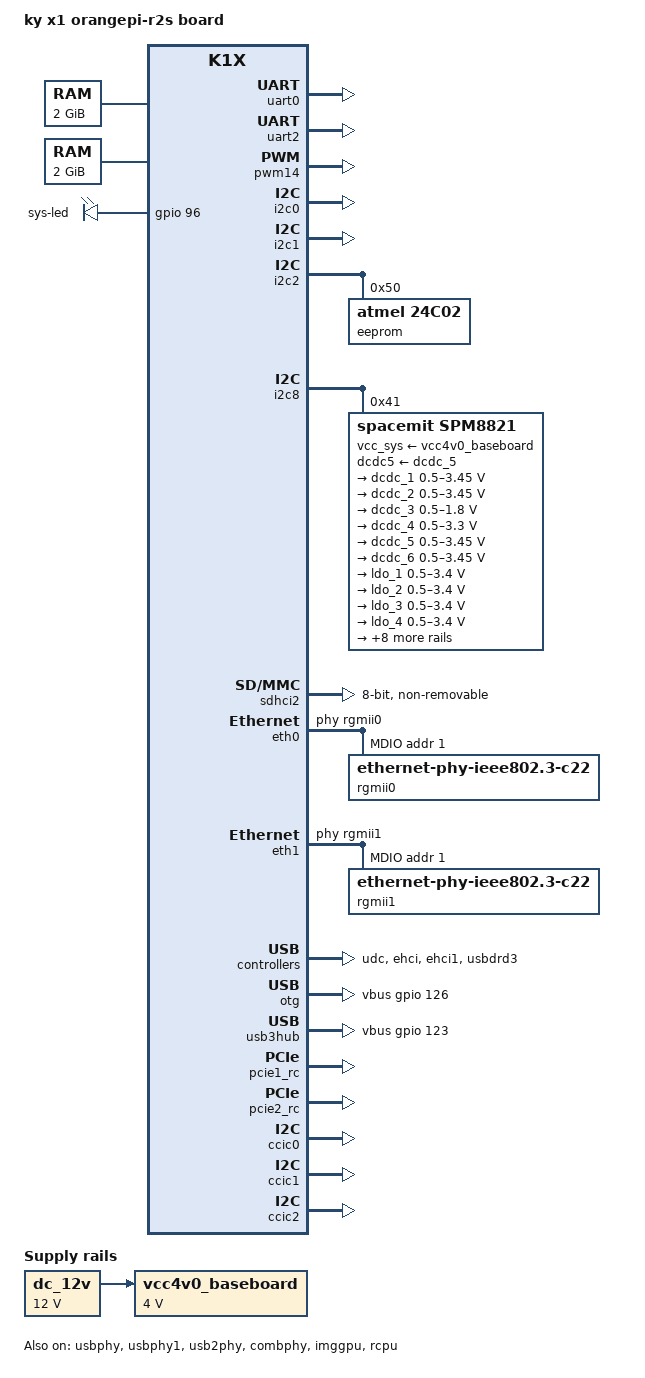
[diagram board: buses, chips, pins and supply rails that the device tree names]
// SPDX-License-Identifier: (GPL-2.0 OR MIT)
/* Copyright (c) 2023 Ky, Inc */

/dts-v1/;

#include "k1-x.dtsi"
#include "k1-x-efuse.dtsi"
#include "k1-x_pinctrl.dtsi"
#include "lcd/lcd_ili9881c_mipi.dtsi"
#include "k1-x-hdmi.dtsi"
#include "k1-x-lcd.dtsi"
#include "k1-x-camera-sdk.dtsi"
#include "k1-x_opp_table.dtsi"
#include "k1-x_thermal_cooling.dtsi"

/ {
	model = "ky x1 orangepi-r2s board";
	compatible = "spacemit,orangepi-r2s", "spacemit,k1x";

	cpus: cpus {
		#address-cells = <1>;
		#size-cells = <0>;
		timebase-frequency = <24000000>;

		cpu_0: cpu@0 {
			cpu-ai = "true";
		};

		cpu_1: cpu@1 {
			cpu-ai = "true";
		};

		cpu_2: cpu@2 {
			reg = <2>;
			cpu-ai = "true";
		};

		cpu_3: cpu@3 {
			reg = <3>;
			cpu-ai = "true";
		};

		cpu-map {
			cluster0 {
				core0 {
					cpu = <&cpu_0>;
				};

				core1 {
					cpu = <&cpu_1>;
				};

				core2 {
					cpu = <&cpu_2>;
				};

				core3 {
					cpu = <&cpu_3>;
				};
			};

			cluster1 {
				core0 {
					cpu = <&cpu_4>;
				};

				core1 {
					cpu = <&cpu_5>;
				};

				core2 {
					cpu = <&cpu_6>;
				};

				core3 {
					cpu = <&cpu_7>;
				};
			};
		};
	};

	memory@0 {
		device_type = "memory";
		reg = <0x0 0x00000000 0x0 0x80000000>;
	};

	memory@100000000 {
		device_type = "memory";
		reg = <0x1 0x00000000 0x0 0x80000000>;
	};

	reserved-memory {
		#address-cells = <2>;
		#size-cells = <2>;
		ranges;

		linux,cma {
			compatible = "shared-dma-pool";
			/* alloc memory from 0x40000000~0x80000000 */
			alloc-ranges = <0 0x40000000 0 0x30000000>;
			/* size of cma buffer is 384MByte */
			size = <0 0x18000000>;
			/* start address is 1Mbyte aligned */
			alignment = <0x0 0x100000>;
			linux,cma-default;
			/* besides hardware, dma for ex. buffer can be used by memory management */
			reusable;
		};

		/* reserved 384K for dpu, including mmu table(256K) and cmdlist(128K) */
		dpu_resv: dpu_reserved@2ff40000 {
			compatible = "shared-dma-pool";
			reg = <0x0 0x2ff40000 0x0 0x000C0000>;
			no-map;
		};
	};

	chosen {
		bootargs = "earlycon=sbi console=ttyS0,115200n8 loglevel=8 swiotlb=65536 rdinit=/init";
		stdout-path = "serial0:115200n8";
	};

	dc_12v: dc-12v {
		compatible = "regulator-fixed";
		regulator-name = "dc_12v";
		regulator-always-on;
		regulator-boot-on;
		regulator-min-microvolt = <12000000>;
		regulator-max-microvolt = <12000000>;
	};

	vcc4v0_baseboard: vcc4v0-baseboard {
		compatible = "regulator-fixed";
		regulator-name = "vcc4v0_baseboard";
		regulator-always-on;
		regulator-boot-on;
		regulator-min-microvolt = <4000000>;
		regulator-max-microvolt = <4000000>;
		vin-supply = <&dc_12v>;
	};

	leds {
		compatible = "gpio-leds";

		led1 {
			label = "sys-led";
			gpios = <&gpio 96 0>;
			linux,default-trigger = "heartbeat";
			default-state = "on";
			status = "okay";
		};
	};
};

&uart0 {
	pinctrl-names = "default";
	pinctrl-0 = <&pinctrl_uart0_2>;
	status = "okay";
};

&uart2 {
	pinctrl-names = "default";
	pinctrl-0 = <&pinctrl_uart2>;
	status = "okay";
};

&pwm14 {
	pinctrl-names = "default";
	pinctrl-0 = <&pinctrl_pwm14_1>;
	status = "okay";
};

&i2c0 {
	pinctrl-names = "default";
	pinctrl-0 = <&pinctrl_i2c0>;
	spacemit,i2c-fast-mode;
	status = "okay";
};

&i2c1 {
	pinctrl-names = "default";
	pinctrl-0 = <&pinctrl_i2c1>;
	spacemit,i2c-fast-mode;
	status = "okay";
};

&i2c2 {
	pinctrl-names = "default";
	pinctrl-0 = <&pinctrl_i2c2_0>;
	spacemit,i2c-fast-mode;
	status = "okay";

	eeprom@50{
		compatible = "atmel,24c02";
		reg = <0x50>;
		#address-cells = <1>;
		#size-cells = <1>;

		power-domains = <&power K1X_PMU_DUMMY_PWR_DOMAIN>;
		status = "okay";

		mac_address0: mac_address0@0 {
			reg = <0x0 6>;
		};

		mac_address1: mac_address1@6 {
			reg = <0x6 6>;
		};
	};
};

&i2c8 {
	pinctrl-names = "default";
	pinctrl-0 = <&pinctrl_i2c8>;
	status = "okay";

	spm8821@41 {
		compatible = "spacemit,spm8821";
		reg = <0x41>;
		interrupt-parent = <&intc>;
		interrupts = <64>;
		status = "okay";

		vcc_sys-supply = <&vcc4v0_baseboard>;
		dcdc5-supply = <&dcdc_5>;

		regulators {
			compatible = "pmic,regulator,spm8821";

			/* buck */
			dcdc_1: DCDC_REG1 {
				regulator-name = "dcdc1";
				regulator-min-microvolt = <500000>;
				regulator-max-microvolt = <3450000>;
				regulator-ramp-delay = <5000>;
				regulator-always-on;

				regulator-state-mem {
					regulator-off-in-suspend;
					regulator-suspend-microvolt = <650000>;
				};
			};

			dcdc_2: DCDC_REG2 {
				regulator-name = "dcdc2";
				regulator-min-microvolt = <500000>;
				regulator-max-microvolt = <3450000>;
				regulator-ramp-delay = <5000>;
				regulator-always-on;
			};

			dcdc_3: DCDC_REG3 {
				regulator-name = "dcdc3";
				regulator-min-microvolt = <500000>;
				regulator-max-microvolt = <1800000>;
				regulator-ramp-delay = <5000>;
				regulator-always-on;
			};

			dcdc_4: DCDC_REG4 {
				regulator-name = "dcdc4";
				regulator-min-microvolt = <500000>;
				regulator-max-microvolt = <3300000>;
				regulator-ramp-delay = <5000>;
				regulator-always-on;

				regulator-state-mem {
					regulator-off-in-suspend;
					regulator-suspend-microvolt = <3300000>;
				};
			};

			dcdc_5: DCDC_REG5 {
				regulator-name = "dcdc5";
				regulator-min-microvolt = <500000>;
				regulator-max-microvolt = <3450000>;
				regulator-ramp-delay = <5000>;
				regulator-always-on;
			};

			dcdc_6: DCDC_REG6 {
				regulator-name = "dcdc6";
				regulator-min-microvolt = <500000>;
				regulator-max-microvolt = <3450000>;
				regulator-ramp-delay = <5000>;
				regulator-always-on;
			};

			/* aldo */
			ldo_1: LDO_REG1 {
				regulator-name = "ldo1";
				regulator-min-microvolt = <500000>;
				regulator-max-microvolt = <3400000>;
				regulator-boot-on;

				/* set the min voltage means will disable this vol in suspend for ldo */
				regulator-state-mem {
					regulator-off-in-suspend;
					regulator-suspend-microvolt = <500000>;
				};
			};

			ldo_2: LDO_REG2 {
				regulator-name = "ldo2";
				regulator-min-microvolt = <500000>;
				regulator-max-microvolt = <3400000>;

				regulator-state-mem {
					regulator-off-in-suspend;
					regulator-suspend-microvolt = <500000>;
				};
			};

			ldo_3: LDO_REG3 {
				regulator-name = "ldo3";
				regulator-min-microvolt = <500000>;
				regulator-max-microvolt = <3400000>;

				regulator-state-mem {
					regulator-off-in-suspend;
					regulator-suspend-microvolt = <500000>;
				};
			};

			ldo_4: LDO_REG4 {
				regulator-name = "ldo4";
				regulator-min-microvolt = <500000>;
				regulator-max-microvolt = <3400000>;

				regulator-state-mem {
					regulator-off-in-suspend;
					regulator-suspend-microvolt = <500000>;
				};
			};

			/* dldo */
			ldo_5: LDO_REG5 {
				regulator-name = "ldo5";
				regulator-min-microvolt = <500000>;
				regulator-max-microvolt = <3400000>;
				regulator-boot-on;

				regulator-state-mem {
					regulator-off-in-suspend;
					regulator-suspend-microvolt = <500000>;
				};
			};

			ldo_6: LDO_REG6 {
				regulator-name = "ldo6";
				regulator-min-microvolt = <500000>;
				regulator-max-microvolt = <3400000>;

				regulator-state-mem {
					regulator-off-in-suspend;
					regulator-suspend-microvolt = <500000>;
				};
			};

			ldo_7: LDO_REG7 {
				regulator-name = "ldo7";
				regulator-min-microvolt = <500000>;
				regulator-max-microvolt = <3400000>;

				regulator-state-mem {
					regulator-off-in-suspend;
					regulator-suspend-microvolt = <500000>;
				};
			};

			ldo_8: LDO_REG8 {
				regulator-name = "ldo8";
				regulator-min-microvolt = <500000>;
				regulator-max-microvolt = <3400000>;
				regulator-always-on;
			};

			ldo_9: LDO_REG9 {
				regulator-name = "ldo9";
				regulator-min-microvolt = <500000>;
				regulator-max-microvolt = <3400000>;
			};

			ldo_10: LDO_REG10 {
				regulator-name = "ldo10";
				regulator-min-microvolt = <500000>;
				regulator-max-microvolt = <3400000>;
				regulator-always-on;
			};

			ldo_11: LDO_REG11 {
				regulator-name = "ldo11";
				regulator-min-microvolt = <500000>;
				regulator-max-microvolt = <3400000>;
			};

			sw_1: SWITCH_REG1 {
				regulator-boot-on;
				regulator-always-on;
				regulator-name = "switch1";
				regulator-state-mem {
					regulator-off-in-suspend;
				};
			};
		};

		pmic_pinctrl: pinctrl {
			compatible = "pmic,pinctrl,spm8821";
			gpio-controller;
			#gpio-cells = <2>;
			spacemit,npins = <6>;
/**
 *			led_pins: led-pins {
 *				pins = "PIN3";
 *				function = "sleep";
 *				bias-disable = <0>;
 *				drive-open-drain = <0x1>;
 *			};
 */
		};

		pwr_key: key {
			compatible = "pmic,pwrkey,spm8821";
		};

		ext_rtc: rtc {
			compatible = "pmic,rtc,spm8821";
		};

		ext_adc: adc {
			compatible = "pmic,adc,spm8821";
		};
	};
};

&pinctrl {
	pinctrl-single,gpio-range = <
		&range GPIO_49  2 (MUX_MODE0 | EDGE_NONE | PULL_UP   | PAD_3V_DS4)
		&range GPIO_58  1 (MUX_MODE0 | EDGE_NONE | PULL_UP   | PAD_1V8_DS2)
		&range GPIO_63  1 (MUX_MODE0 | EDGE_NONE | PULL_UP   | PAD_1V8_DS2)
		&range GPIO_64  1 (MUX_MODE1 | EDGE_NONE | PULL_UP   | PAD_1V8_DS2)
		&range GPIO_65  1 (MUX_MODE0 | EDGE_NONE | PULL_UP   | PAD_1V8_DS2)
		&range GPIO_67  1 (MUX_MODE0 | EDGE_NONE | PULL_UP   | PAD_3V_DS4)
		&range PRI_TDI  2 (MUX_MODE1 | EDGE_NONE | PULL_UP   | PAD_1V8_DS2)
		&range PRI_TCK  1 (MUX_MODE1 | EDGE_NONE | PULL_DOWN | PAD_1V8_DS2)
		&range PRI_TDO  1 (MUX_MODE1 | EDGE_NONE | PULL_UP   | PAD_1V8_DS2)
		/*&range GPIO_74  1 (MUX_MODE0 | EDGE_NONE | PULL_UP   | PAD_1V8_DS2) */
		&range GPIO_79  1 (MUX_MODE0 | EDGE_NONE | PULL_UP   | PAD_1V8_DS2)
		&range GPIO_80  1 (MUX_MODE0 | EDGE_NONE | PULL_UP   | PAD_3V_DS4)
		&range GPIO_81  3 (MUX_MODE0 | EDGE_NONE | PULL_UP   | PAD_1V8_DS2)
		&range GPIO_90  1 (MUX_MODE0 | EDGE_NONE | PULL_DOWN | PAD_1V8_DS2)
		&range GPIO_91  2 (MUX_MODE0 | EDGE_NONE | PULL_UP   | PAD_1V8_DS2)
		&range DVL0     1 (MUX_MODE1 | EDGE_NONE | PULL_DOWN | PAD_1V8_DS2)
		&range DVL1     1 (MUX_MODE1 | EDGE_NONE | PULL_DOWN | PAD_1V8_DS0)
		&range GPIO_110 1 (MUX_MODE0 | EDGE_NONE | PULL_DOWN | PAD_1V8_DS2)
		&range GPIO_111 1 (MUX_MODE0 | EDGE_NONE | PULL_DOWN | PAD_1V8_DS2)
		&range GPIO_113 1 (MUX_MODE0 | EDGE_NONE | PULL_DOWN | PAD_1V8_DS2)
		&range GPIO_114 1 (MUX_MODE0 | EDGE_NONE | PULL_DOWN | PAD_1V8_DS2)
		&range GPIO_115 1 (MUX_MODE0 | EDGE_NONE | PULL_DOWN | PAD_1V8_DS2)
		&range GPIO_116 1 (MUX_MODE0 | EDGE_NONE | PULL_UP   | PAD_1V8_DS2)
		&range GPIO_118 1 (MUX_MODE0 | EDGE_NONE | PULL_UP   | PAD_1V8_DS2)
		&range GPIO_123 1 (MUX_MODE0 | EDGE_NONE | PULL_DOWN | PAD_1V8_DS0)
		&range GPIO_124 1 (MUX_MODE0 | EDGE_NONE | PULL_UP   | PAD_1V8_DS2)
		&range GPIO_125 3 (MUX_MODE0 | EDGE_NONE | PULL_DOWN | PAD_1V8_DS2)
	>;

	/* pinctrl_rcpu: pinctrl_rcpu_grp { */
	/* 	pinctrl-single,pins = < */
	/* 		K1X_PADCONF(GPIO_47, MUX_MODE1, (EDGE_NONE | PULL_UP | PAD_3V_DS4))	/1* r_uart0_tx *1/ */
	/* 		K1X_PADCONF(GPIO_48, MUX_MODE1, (EDGE_NONE | PULL_UP | PAD_3V_DS4))	/1* r_uart0_rx *1/ */
	/* 	>; */
	/* }; */

	pinctrl_gmac0: gmac0_grp {
		pinctrl-single,pins =<
			K1X_PADCONF(GPIO_00, MUX_MODE1, (EDGE_NONE | PULL_DIS | PAD_1V8_DS2))	/* gmac0_rxdv */
			K1X_PADCONF(GPIO_01, MUX_MODE1, (EDGE_NONE | PULL_DIS | PAD_1V8_DS2))	/* gmac0_rx_d0 */
			K1X_PADCONF(GPIO_02, MUX_MODE1, (EDGE_NONE | PULL_DIS | PAD_1V8_DS2))	/* gmac0_rx_d1 */
			K1X_PADCONF(GPIO_03, MUX_MODE1, (EDGE_NONE | PULL_DIS | PAD_1V8_DS2))	/* gmac0_rx_clk */
			K1X_PADCONF(GPIO_04, MUX_MODE1, (EDGE_NONE | PULL_DIS | PAD_1V8_DS2))	/* gmac0_rx_d2 */
			K1X_PADCONF(GPIO_05, MUX_MODE1, (EDGE_NONE | PULL_DIS | PAD_1V8_DS2))	/* gmac0_rx_d3 */
			K1X_PADCONF(GPIO_06, MUX_MODE1, (EDGE_NONE | PULL_DIS | PAD_1V8_DS2))	/* gmac0_tx_d0 */
			K1X_PADCONF(GPIO_07, MUX_MODE1, (EDGE_NONE | PULL_DIS | PAD_1V8_DS2))	/* gmac0_tx_d1 */
			K1X_PADCONF(GPIO_08, MUX_MODE1, (EDGE_NONE | PULL_DIS | PAD_1V8_DS2))	/* gmac0_tx */
			K1X_PADCONF(GPIO_09, MUX_MODE1, (EDGE_NONE | PULL_DIS | PAD_1V8_DS2))	/* gmac0_tx_d2 */
			K1X_PADCONF(GPIO_10, MUX_MODE1, (EDGE_NONE | PULL_DIS | PAD_1V8_DS2))	/* gmac0_tx_d3 */
			K1X_PADCONF(GPIO_11, MUX_MODE1, (EDGE_NONE | PULL_DIS | PAD_1V8_DS2))	/* gmac0_tx_en */
			K1X_PADCONF(GPIO_12, MUX_MODE1, (EDGE_NONE | PULL_DIS | PAD_1V8_DS0))	/* gmac0_mdc */
			K1X_PADCONF(GPIO_13, MUX_MODE1, (EDGE_NONE | PULL_DIS | PAD_1V8_DS0))	/* gmac0_mdio */
			K1X_PADCONF(GPIO_14, MUX_MODE1, (EDGE_NONE | PULL_DIS | PAD_1V8_DS2))	/* gmac0_int_n */
		>;
	};

	pinctrl_gmac1: gmac1_grp {
		pinctrl-single,pins =<
			K1X_PADCONF(GPIO_29, MUX_MODE1, (EDGE_NONE | PULL_DIS | PAD_1V8_DS2))	/* gmac1_rxdv */
			K1X_PADCONF(GPIO_30, MUX_MODE1, (EDGE_NONE | PULL_DIS | PAD_1V8_DS2))	/* gmac1_rx_d0 */
			K1X_PADCONF(GPIO_31, MUX_MODE1, (EDGE_NONE | PULL_DIS | PAD_1V8_DS2))	/* gmac1_rx_d1 */
			K1X_PADCONF(GPIO_32, MUX_MODE1, (EDGE_NONE | PULL_DIS | PAD_1V8_DS2))	/* gmac1_rx_clk */
			K1X_PADCONF(GPIO_33, MUX_MODE1, (EDGE_NONE | PULL_DIS | PAD_1V8_DS2))	/* gmac1_rx_d2 */
			K1X_PADCONF(GPIO_34, MUX_MODE1, (EDGE_NONE | PULL_DIS | PAD_1V8_DS2))	/* gmac1_rx_d3 */
			K1X_PADCONF(GPIO_35, MUX_MODE1, (EDGE_NONE | PULL_DIS | PAD_1V8_DS0))	/* gmac1_tx_d0 */
			K1X_PADCONF(GPIO_36, MUX_MODE1, (EDGE_NONE | PULL_DIS | PAD_1V8_DS0))	/* gmac1_tx_d1 */
			K1X_PADCONF(GPIO_37, MUX_MODE1, (EDGE_NONE | PULL_DIS | PAD_1V8_DS2))	/* gmac1_tx */
			K1X_PADCONF(GPIO_38, MUX_MODE1, (EDGE_NONE | PULL_DIS | PAD_1V8_DS0))	/* gmac1_tx_d2 */
			K1X_PADCONF(GPIO_39, MUX_MODE1, (EDGE_NONE | PULL_DIS | PAD_1V8_DS0))	/* gmac1_tx_d3 */
			K1X_PADCONF(GPIO_40, MUX_MODE1, (EDGE_NONE | PULL_DIS | PAD_1V8_DS0))	/* gmac1_tx_en */
			K1X_PADCONF(GPIO_41, MUX_MODE1, (EDGE_NONE | PULL_DIS | PAD_1V8_DS0))	/* gmac1_mdc */
			K1X_PADCONF(GPIO_42, MUX_MODE1, (EDGE_NONE | PULL_DIS | PAD_1V8_DS0))	/* gmac1_mdio */
			K1X_PADCONF(GPIO_43, MUX_MODE1, (EDGE_NONE | PULL_DIS | PAD_1V8_DS2))	/* gmac1_int_n */
		>;
	};
};

&gpio{
	gpio-ranges = <
		&pinctrl 49  GPIO_49  2
		&pinctrl 58  GPIO_58  1
		&pinctrl 63  GPIO_63  1
		/*&pinctrl 65  GPIO_65  1 */
		&pinctrl 67  GPIO_67  1
		&pinctrl 70  PRI_TDI  4
		/*&pinctrl 74  GPIO_74  1*/
		&pinctrl 79  GPIO_79  1
		&pinctrl 80  GPIO_80  4
		&pinctrl 90  GPIO_90  3
		&pinctrl 96  DVL0     2
		&pinctrl 110 GPIO_110 1
		&pinctrl 111 GPIO_111 1
		&pinctrl 113 GPIO_113 1
		&pinctrl 114 GPIO_114 3
		&pinctrl 118 GPIO_118 1
		&pinctrl 123 GPIO_123 5
	>;
};

/* SD */
&sdhci0 {
	pinctrl-names = "default","fast";
	pinctrl-0 = <&pinctrl_mmc1>;
	pinctrl-1 = <&pinctrl_mmc1_fast>;
	bus-width = <4>;
	cd-gpios = <&gpio 80 0>;
	cd-inverted;
	vmmc-supply = <&dcdc_4>;
	vqmmc-supply = <&ldo_1>;
	no-mmc;
	no-sdio;
	spacemit,sdh-host-caps-disable = <(
			MMC_CAP_UHS_SDR12 |
			MMC_CAP_UHS_SDR25
			)>;
	spacemit,sdh-quirks = <(
			SDHCI_QUIRK_BROKEN_CARD_DETECTION |
			SDHCI_QUIRK_INVERTED_WRITE_PROTECT |
			SDHCI_QUIRK_BROKEN_TIMEOUT_VAL
			)>;
	spacemit,sdh-quirks2 = <(
			SDHCI_QUIRK2_PRESET_VALUE_BROKEN |
			SDHCI_QUIRK2_BROKEN_PHY_MODULE |
			SDHCI_QUIRK2_SET_AIB_MMC
			)>;
	spacemit,aib_mmc1_io_reg = <0xD401E81C>;
	spacemit,apbc_asfar_reg = <0xD4015050>;
	spacemit,apbc_assar_reg = <0xD4015054>;
	spacemit,rx_dline_reg = <0x0>;
	spacemit,tx_dline_reg = <0x0>;
	spacemit,tx_delaycode = <0x9f>;
	spacemit,rx_tuning_limit = <50>;
	spacemit,sdh-freq = <204800000>;
	status = "disabled";
};

/* SDIO */
&sdhci1 {
	pinctrl-names = "default";
	pinctrl-0 = <&pinctrl_mmc2>;
	bus-width = <4>;
	non-removable;
	vqmmc-supply = <&dcdc_3>;
	no-mmc;
	no-sd;
	keep-power-in-suspend;
	/* bcmdhd use private oob solution rather than dat1/standard wakeup */
	/delete-property/ enable-sdio-wakeup;
	spacemit,sdh-host-caps-disable = <(
			MMC_CAP_UHS_DDR50 |
			MMC_CAP_NEEDS_POLL
			)>;
	spacemit,sdh-quirks = <(
			SDHCI_QUIRK_BROKEN_CARD_DETECTION |
			SDHCI_QUIRK_BROKEN_TIMEOUT_VAL
			)>;
	spacemit,sdh-quirks2 = <(
			SDHCI_QUIRK2_PRESET_VALUE_BROKEN |
			SDHCI_QUIRK2_BROKEN_PHY_MODULE
			)>;
	spacemit,rx_dline_reg = <0x0>;
	spacemit,tx_delaycode = <0x9f>;
	spacemit,rx_tuning_limit = <50>;
	spacemit,sdh-freq = <375000000>;
	status = "disabled";
};

/* eMMC */
&sdhci2 {
	bus-width = <8>;
	non-removable;
	mmc-hs400-1_8v;
	mmc-hs400-enhanced-strobe;
	no-sd;
	no-sdio;
	spacemit,sdh-quirks = <(
			SDHCI_QUIRK_BROKEN_CARD_DETECTION |
			SDHCI_QUIRK_BROKEN_TIMEOUT_VAL
			)>;
	spacemit,sdh-quirks2 = <(
			SDHCI_QUIRK2_PRESET_VALUE_BROKEN
			)>;
	spacemit,sdh-freq = <375000000>;
	status = "okay";
};

&eth0 {
	pinctrl-names = "default";
	pinctrl-0 = <&pinctrl_gmac0>;

	emac,reset-gpio = <&gpio 110 0>;
	emac,reset-active-low;
	emac,reset-delays-us = <0 10000 100000>;

	/* store forward mode */
	tx-threshold = <1518>;
	rx-threshold = <12>;
	tx-ring-num = <1024>;
	rx-ring-num = <1024>;
	dma-burst-len = <5>;

	ref-clock-from-phy;

	clk-tuning-enable;
	clk-tuning-by-delayline;
	tx-phase = <60>;
	rx-phase = <73>;

	nvmem-cells = <&mac_address0>;
	nvmem-cell-names = "mac-address";

	phy-handle = <&rgmii0>;

	status = "okay";

	mdio-bus {
		#address-cells = <0x1>;
		#size-cells = <0x0>;
		rgmii0: phy@0 {
			compatible = "ethernet-phy-ieee802.3-c22";
			device_type = "ethernet-phy";
			reg = <0x1>;
			phy-mode = "rgmii";
		};
	};
};

&eth1 {
	pinctrl-names = "default";
	pinctrl-0 = <&pinctrl_gmac1>;

	emac,reset-gpio = <&gpio 115 0>;
	emac,reset-active-low;
	emac,reset-delays-us = <0 10000 100000>;

        /* store forward mode */
	tx-threshold = <1518>;
	rx-threshold = <12>;
	tx-ring-num = <1024>;
	rx-ring-num = <1024>;
	dma-burst-len = <5>;

	ref-clock-from-phy;

	clk-tuning-enable;
	clk-tuning-by-delayline;
	tx-phase = <90>;
	rx-phase = <73>;
	nvmem-cells = <&mac_address1>;
	nvmem-cell-names = "mac-address";

	phy-handle = <&rgmii1>;

	status = "okay";

	mdio-bus {
		#address-cells = <0x1>;
		#size-cells = <0x0>;
		rgmii1: phy@1 {
			compatible = "ethernet-phy-ieee802.3-c22";
			device_type = "ethernet-phy";
			reg = <0x1>;
			phy-mode = "rgmii";
		};
	};
};

&usbphy {
	status = "okay";
};

&udc {
	spacemit,udc-mode = <MV_USB_MODE_OTG>;
	status = "okay";
};

&ehci {
	spacemit,udc-mode = <MV_USB_MODE_OTG>;
	spacemit,reset-on-resume;
	status = "okay";
};
&otg {
	usb-role-switch;
	role-switch-user-control;
	spacemit,reset-on-resume;
	role-switch-default-mode = "host";
	vbus-gpios = <&gpio 126 0>;
	status = "okay";
};


&usbphy1 {
	status = "okay";
};

&udc1 {
	spacemit,udc-mode = <MV_USB_MODE_UDC>;
	status = "disabled";
};

&ehci1 {
	spacemit,udc-mode = <MV_USB_MODE_HOST>;
	spacemit,reset-on-resume;
	status = "okay";
};

&otg1 {
	usb-role-switch;
	role-switch-user-control;
	spacemit,reset-on-resume;
	role-switch-default-mode = "host";
	vbus-gpios = <&gpio 123 0>;
	status = "disabled";
};

&usb2phy {
	status = "okay";
};

&combphy {
	status = "okay";
};

&usb3hub {
	vbus-gpios = <&gpio 123 0>;	/* gpio_123 for usb3 hub pwr and output vbus */
	status = "okay";
};

&usbdrd3 {
	status = "okay";
	reset-on-resume;
	dwc3@c0a00000 {
		dr_mode = "otg";
		phy_type = "utmi";
		snps,hsphy_interface = "utmi";
		snps,dis_enblslpm_quirk;
		snps,dis_u2_susphy_quirk;
		snps,dis_u3_susphy_quirk;
		snps,dis-del-phy-power-chg-quirk;
		snps,dis-tx-ipgap-linecheck-quirk;
		snps,parkmode-disable-ss-quirk;
		usb-role-switch;
		role-switch-default-mode = "host";
	};
};

&pcie1_rc {
	pinctrl-names = "default";
	pinctrl-0 = <&pinctrl_pcie1_3>;
	k1x,pwr_on = <&gpio 116 0>;
	status = "okay";
};

&pcie2_rc {
	pinctrl-names = "default";
	pinctrl-0 = <&pinctrl_pcie2_4>;
	status = "okay";
};

&imggpu {
	status = "okay";
};

&qspi {
	pinctrl-names = "default";
	pinctrl-0 = <&pinctrl_qspi>;
	status = "disabled";

	flash@0 {
		compatible = "jedec,spi-nor";
		reg = <0>;
		spi-max-frequency = <26500000>;
		m25p,fast-read;
		broken-flash-reset;
		status = "okay";
	};
};

&ccic0 {
	power-domains = <&power K1X_PMU_ISP_PWR_DOMAIN>;

	status = "okay";
};
&ccic1 {
	power-domains = <&power K1X_PMU_ISP_PWR_DOMAIN>;

	status = "okay";
};
&ccic2 {
	power-domains = <&power K1X_PMU_ISP_PWR_DOMAIN>;

	status = "okay";
};
&isp {
	power-domains = <&power K1X_PMU_ISP_PWR_DOMAIN>;
};

&cpp {
	power-domains = <&power K1X_PMU_ISP_PWR_DOMAIN>;
};

&vi {
	power-domains = <&power K1X_PMU_ISP_PWR_DOMAIN>;
};

&rcpu {
	/* pinctrl-names = "default"; */
	/* pinctrl-0 = <&pinctrl_rcpu>; */
	mboxes = <&mailbox 0>, <&mailbox 1>;
	mbox-names = "vq0", "vq1";
	memory-region = <&rcpu_mem_0>, <&vdev0vring0>, <&vdev0vring1>, <&vdev0buffer>, <&rsc_table>, <&rcpu_mem_snapshots>;
	status = "okay";
};
